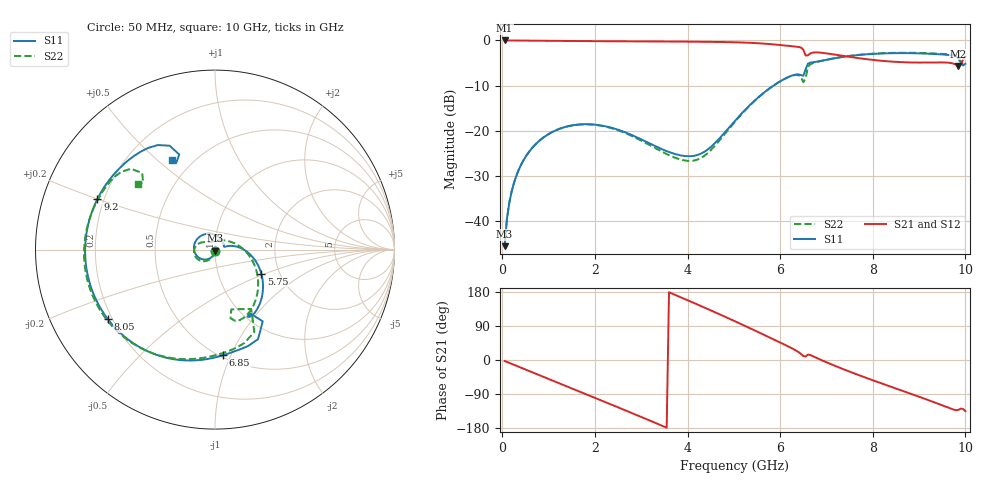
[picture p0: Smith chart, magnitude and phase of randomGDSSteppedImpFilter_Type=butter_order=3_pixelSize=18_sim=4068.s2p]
! freq	dB(S11)	phase(S11)	dB(S12)	phase(S12)
!  dB(S21)	phase(S21)	dB(S22)	phase(S22)
!S-par simulation data
#  GHz  S  DB  R 50
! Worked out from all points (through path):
!   200 points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, 50 MHz to 10 GHz, reference 50 ohm
!   highest |S21| = -0.01 dB at 50 MHz (marker M1); lowest = -5.6 dB at 9.85 GHz (marker M2)
!   group delay of S21, straight-line fit = 143 ps
!   lowest |S11| = -45.5 dB at 50 MHz (marker M3), VSWR 1.01, Z = 50 - j0.532 ohm
!   |S11| at or under -10 dB: start of sweep to 5.852 GHz
!   |S22| runs from -45.5 to -2.7 dB; largest |S21 - S12| = 0
!   S11 on the Smith chart (normalised r, x): 50 MHz: 1.00, -0.01; 5.75 GHz: 1.61, -0.47; 6.85 GHz: 0.52, -0.93; 8.05 GHz: 0.18, -0.29; 9.2 GHz: 0.17, +0.20; 10 GHz: 0.39, +0.56
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0.05  -45.48 -92.1  -0.01 -2.6  -0.01 -2.6  -45.46 -91.6
0.1  -39.46 -95.2  -0.01 -5.1  -0.01 -5.1  -39.45 -94.2
0.2  -33.48 -100.9  -0.02 -10.1  -0.02 -10.1  -33.47 -99.0
0.5  -25.77 -117.7  -0.04 -25.1  -0.04 -25.1  -25.77 -112.8
1.15  -19.89 -154.3  -0.11 -57.5  -0.11 -57.5  -19.89 -142.1
1.75  -18.52 171.0  -0.16 -87.3  -0.16 -87.3  -18.55 -168.0
2.5  -19.74 124.0  -0.19 -124.9  -0.19 -124.9  -19.87 163.3
3.4  -23.83 56.9  -0.23 -170.9  -0.23 -170.9  -24.34 137.2
4.25  -25.19 16.6  -0.29 144.5  -0.29 144.5  -26.18 85.2
5.05  -17.48 5.4  -0.41 100.8  -0.41 100.8  -17.65 10.6
5.75  -10.74 -27.3  -0.78 60.7  -0.78 60.7  -10.78 -34.2
6.4  -7.51 -62.9  -1.45 20.7  -1.45 20.7  -7.70 -74.3
6.5  -7.81 -61.1  -2.04 10.3  -2.04 10.3  -9.24 -74.7
6.55  -6.37 -56.3  -3.33 9.2  -3.33 9.2  -8.24 -58.7
6.7  -4.84 -75.7  -2.70 10.5  -2.70 10.5  -5.03 -78.0
6.85  -4.58 -85.7  -2.68 2.0  -2.68 2.0  -4.63 -89.0
7.45  -3.50 -117.7  -3.56 -28.4  -3.56 -28.4  -3.48 -119.5
8.05  -2.95 -147.0  -4.36 -55.7  -4.36 -55.7  -2.90 -145.2
8.35  -2.84 -161.3  -4.64 -68.8  -4.64 -68.8  -2.77 -157.2
9.2  -2.93 156.8  -4.89 -105.8  -4.89 -105.8  -2.82 169.4
9.85  -3.99 113.6  -5.62 -131.7  -5.62 -131.7  -3.74 136.1
10  -5.17 115.7  -3.64 -135.0  -3.64 -135.0  -4.99 139.4
